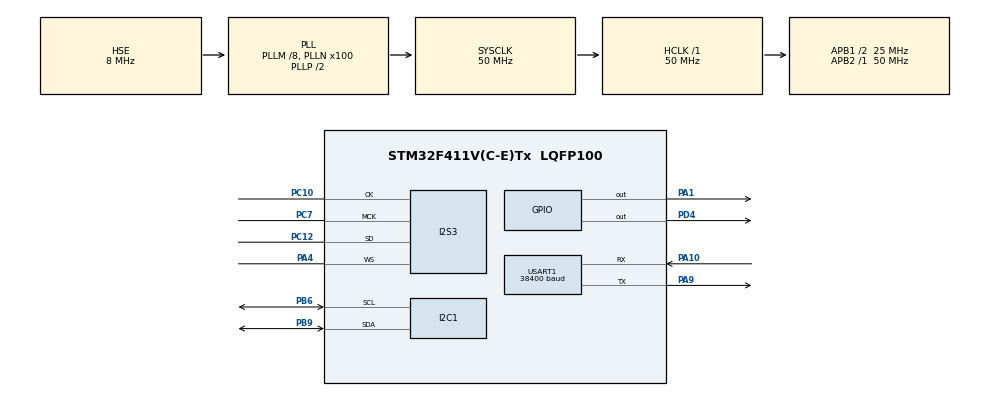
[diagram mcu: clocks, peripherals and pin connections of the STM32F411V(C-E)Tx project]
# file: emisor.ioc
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Dma.Request0=SPI3_TX
Dma.SPI3_TX.0.Direction=DMA_MEMORY_TO_PERIPH
Dma.SPI3_TX.0.FIFOMode=DMA_FIFOMODE_ENABLE
Dma.SPI3_TX.0.FIFOThreshold=DMA_FIFO_THRESHOLD_FULL
Dma.SPI3_TX.0.Instance=DMA1_Stream5
Dma.SPI3_TX.0.MemBurst=DMA_MBURST_SINGLE
Dma.SPI3_TX.0.MemDataAlignment=DMA_MDATAALIGN_HALFWORD
Dma.SPI3_TX.0.MemInc=DMA_MINC_ENABLE
Dma.SPI3_TX.0.Mode=DMA_CIRCULAR
Dma.SPI3_TX.0.PeriphBurst=DMA_PBURST_SINGLE
Dma.SPI3_TX.0.PeriphDataAlignment=DMA_PDATAALIGN_HALFWORD
Dma.SPI3_TX.0.PeriphInc=DMA_PINC_DISABLE
Dma.SPI3_TX.0.Priority=DMA_PRIORITY_LOW
I2S3.AudioFreq=I2S_AUDIOFREQ_48K
I2S3.ErrorAudioFreq=0.15 %
I2S3.FullDuplexMode=I2S_FULLDUPLEXMODE_DISABLE
I2S3.Instance=SPI$Index
I2S3.RealAudioFreq=48.076 KHz
I2S3.VirtualMode=I2S_MODE_MASTER
Mcu.Family=STM32F4
Mcu.Name=STM32F411V(C-E)Tx
Mcu.Package=LQFP100
NVIC.DMA1_Stream5_IRQn=true\:0\:0\:false\:false\:true\:false\:true\:true
NVIC.PriorityGroup=NVIC_PRIORITYGROUP_0
NVIC.USART1_IRQn=true\:0\:0\:false\:false\:true\:true\:true\:true
PA1.Signal=GPIO_Output
PA10.Mode=Asynchronous
PA10.Signal=USART1_RX
PA4.Mode=Half_Duplex_Master
PA4.Signal=I2S3_WS
PA9.Mode=Asynchronous
PA9.Signal=USART1_TX
PB6.Mode=I2C
PB6.Signal=I2C1_SCL
PB9.Mode=I2C
PB9.Signal=I2C1_SDA
PC10.Mode=Half_Duplex_Master
PC10.Signal=I2S3_CK
PC12.Mode=Half_Duplex_Master
PC12.Signal=I2S3_SD
PC7.Mode=Master_Clock_Activated
PC7.Signal=I2S3_MCK
PD4.Signal=GPIO_Output
PH0\ -\ OSC_IN.Mode=HSE-External-Oscillator
PH0\ -\ OSC_IN.Signal=RCC_OSC_IN
PH1\ -\ OSC_OUT.Mode=HSE-External-Oscillator
PH1\ -\ OSC_OUT.Signal=RCC_OSC_OUT
ProjectManager.HeapSize=0x200
ProjectManager.StackSize=0x400
ProjectManager.TargetToolchain=STM32CubeIDE
RCC.48MHZClocksFreq_Value=12500000
RCC.AHBFreq_Value=50000000
RCC.APB1CLKDivider=RCC_HCLK_DIV2
RCC.APB1Freq_Value=25000000
RCC.APB1TimFreq_Value=50000000
RCC.APB2Freq_Value=50000000
RCC.APB2TimFreq_Value=50000000
RCC.CortexFreq_Value=50000000
RCC.HCLKFreq_Value=50000000
RCC.HSE_VALUE=8000000
RCC.HSI_VALUE=16000000
RCC.LSE_VALUE=32768
RCC.PLLI2SM=5
RCC.PLLI2SN=200
RCC.PLLM=8
RCC.PLLN=100
RCC.PLLQ=8
RCC.PLLSourceVirtual=RCC_PLLSOURCE_HSE
RCC.SYSCLKFreq_VALUE=50000000
RCC.SYSCLKSource=RCC_SYSCLKSOURCE_PLLCLK
RCC.VCOOutputFreq_Value=100000000
USART1.BaudRate=38400
USART1.VirtualMode=VM_ASYNC
board=STM32F411E-DISCO

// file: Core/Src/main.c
/* USER CODE BEGIN Header */
/**
  ******************************************************************************
  * @file           : main.c
  * @brief          : Main program body
  ******************************************************************************
  * @attention
  *
  * Copyright (c) 2024 STMicroelectronics.
  * All rights reserved.
  *
  * This software is licensed under terms that can be found in the LICENSE file
  * in the root directory of this software component.
  * If no LICENSE file comes with this software, it is provided AS-IS.
  *
  ******************************************************************************
  */
/* USER CODE END Header */
#include "main.h"

/* USER CODE BEGIN Includes */
#include <stdio.h>
#include <string.h>
#include <stdlib.h>
#include <math.h>
#include "MY_CS43L22.h"
#include <math.h>

#define T_PUNTO 200 //Tiempo máximo del punto
#define T_RAYA 400 //Tiempo máximo de la raya
#define T_PR 200 //Tiempo máximo apagado entre códigos
#define T_CARACTER 400 //Tiempo máximo entre caracteres
#define T_PALABRA 750 //Tiempo máximo entre palabras
/* USER CODE END Includes */

I2C_HandleTypeDef hi2c1;

I2S_HandleTypeDef hi2s3;
DMA_HandleTypeDef hdma_spi3_tx;

UART_HandleTypeDef huart1;

/* USER CODE BEGIN PV */
#define PI 3.14159f

//Sample rate and Output freq
#define F_SAMPLE		48000.0f
#define F_OUT           1000.0f
/* USER CODE END PV */

void SystemClock_Config(void);
static void MX_GPIO_Init(void);
static void MX_DMA_Init(void);
static void MX_USART1_UART_Init(void);
static void MX_I2C1_Init(void);
static void MX_I2S3_Init(void);

/* USER CODE BEGIN 0 */

//AUDIO////////////////////////////
float mySinVal;
float sample_dt;
uint16_t sample_N;

int16_t dataI2S[100];

///////////////////////////////////

char car[8]="";
uint32_t luz=0;
enum estado {X0,X1,X2,X3,X4,X5,X6};
//enum estado estado_act, estado_sig;

char cact[5] = "", csig[5] = "****"; //Secuencias de . -
volatile char pact[10] = ""; //Secuencias de caracteres
char psig[10] = "*********"; //Secuencias de caracteres

uint32_t pos_csig = 0, pos_psig = 0;
uint8_t cleido = 0, pleida = 0;

volatile char frase_recv[64] = "";
volatile char frase_inter[64] = "";
volatile char frase_recv_m[256] = "";

volatile uint8_t mensaje_completo = 0;

void eliminarAsteriscos(char* orig){
	int len = strlen(orig);

	for(int i=0; i<len; i++){
		if(orig[i] == '*')
			orig[i] = ' ';
	}
}

char morse2asci(char* car){
	char asci;

	//Decoder
	if(car[0] == '.'){
		if(car[1] == '.'){
			if(car[2] == '.'){
				if(car[3] == '.'){
					asci = 'H'; //....
				}
				else if(car[3] == '-'){
					asci = 'V'; //...-
				}
				else asci = 'S'; // ...
			}
			else if(car[2] == '-'){
				if(car[3] == '.'){
					asci = 'F'; //..-.
				}
				else if(car[3] == '-'){
					asci = '*'; //..-- no existe
				}
				else asci = 'U'; // ..-
			}
			else asci = 'I'; // ..
		}
		else if(car[1] == '-'){
			if(car[2] == '.'){
				if(car[3] == '.'){
					asci = 'L'; //.-..
				}
				else if(car[3] == '-'){
					asci = '*'; // .-.- no existe
				}
				else asci = 'R'; // .-.
			}
			else if(car[2] == '-'){
				if(car[3] == '.'){
					asci = 'P'; //.--.
				}
				else if(car[3] == '-'){
					asci = 'J'; //.---
				}
				else asci = 'W'; // .--
			}
			else asci = 'A'; //.-
		}
		else asci = 'E'; // .
	}
	else if(car[0] == '-'){
		if(car[1] == '.'){
			if(car[2] == '.'){
				if(car[3] == '.'){
					asci = 'B'; //-...
				}
				else if(car[3] == '-'){
					asci = 'X'; //-..-
				}
				else asci = 'D'; // -..
			}
			else if(car[2] == '-'){
				if(car[3] == '.'){
					asci = 'C'; //-.-.
				}
				else if(car[3] == '-'){
					asci = 'Y'; //-.--
				}
				else asci = 'K'; // -.-
			}
			else asci = 'N'; //-.
		}
		else if(car[1] == '-'){
			if(car[2] == '.'){
				if(car[3] == '.'){
					asci = 'Z'; //--..
				}
				else if(car[3] == '-'){
					asci = 'Q'; //--.-
				}
				else asci = 'G'; // --.
			}
			else if(car[2] == '-'){
				if(car[3] == '.'){
					asci = '*'; //---. no existe
				}
				else if(car[3] == '-'){
					asci = '*'; //---- no existe
				}
				else asci = 'O'; // ---
			}
			else asci = 'M'; // --
		}
		else asci = 'T'; // -
	}
	return asci;
}

void fraseMorse(char* frase_recv, char* frase_recv_m) {
    for (int i = 0; i < strlen(frase_recv); i++) {
        char letra = frase_recv[i];
        char letra_m[10];
        asci2morse(letra, letra_m);

        if (('A' <= letra && letra <= 'Z') || ('a' <= letra && letra <= 'z')) {
            strcat(frase_recv_m, letra_m);
            if (('A' <= frase_recv[i + 1] && frase_recv[i + 1] <= 'Z') || ('a' <= frase_recv[i + 1] && frase_recv[i + 1] <= 'z'))
                strcat(frase_recv_m, "&");
        }
        else if (letra == ' ')
            strcat(frase_recv_m, "%");

        if (i == strlen(frase_recv)-1)
            strcat(frase_recv_m, "#");
    }
}

void asci2morse(char src, char* dest) {
    switch (src) {
    case 'A':
    case 'a':
        strcpy(dest, "./-");
        break;
    case 'B':
    case 'b':
        strcpy(dest, "-/././.");
        break;
    case 'C':
    case 'c':
        strcpy(dest, "-/./-/.");
        break;
    case 'D':
    case 'd':
        strcpy(dest, "-/./.");
        break;
    case 'E':
    case 'e':
        strcpy(dest, ".");
        break;
    case 'F':
    case 'f':
        strcpy(dest, "././-/.");
        break;
    case 'G':
    case 'g':
        strcpy(dest, "-/-/.");
        break;
    case 'H':
    case 'h':
        strcpy(dest, "./././.");
        break;
    case 'I':
    case 'i':
        strcpy(dest, "./.");
        break;
    case 'J':
    case 'j':
        strcpy(dest, "./-/-/-");
        break;
    case 'K':
    case 'k':
        strcpy(dest, "-/./-");
        break;
    case 'L':
    case 'l':
        strcpy(dest, "./-/./.");
        break;
    case 'M':
    case 'm':
        strcpy(dest, "-/-");
        break;
    case 'N':
    case 'n':
        strcpy(dest, "-/.");
        break;
    case 'O':
    case 'o':
        strcpy(dest, "-/-/-");
        break;
    case 'P':
    case 'p':
        strcpy(dest, "./-/-/.");
        break;
    case 'Q':
    case 'q':
        strcpy(dest, "-/-/./-");
        break;
    case 'R':
    case 'r':
        strcpy(dest, "./-/.");
        break;
    case 'S':
    case 's':
        strcpy(dest, "././.");
        break;
    case 'T':
    case 't':
        strcpy(dest, "-");
        break;
    case 'U':
    case 'u':
        strcpy(dest, "././-");
        break;
    case 'V':
    case 'v':
        strcpy(dest, "./././-");
        break;
    case 'W':
    case 'w':
        strcpy(dest, "./-/-");
        break;
    case 'X':
    case 'x':
        strcpy(dest, "-/././-");
        break;
    case 'Y':
    case 'y':
        strcpy(dest, "-/./-/-");
        break;
    case 'Z':
    case 'z':
        strcpy(dest, "-/-/./.");
        break;
    default:
        strcpy(dest, "");
        break;
    }
}

void transmitirLedMorse(char* cadena, uint8_t* start){
	static uint8_t index = 0;
	static enum estado estado_act = X0, estado_sig = X0;

	uint32_t tact = HAL_GetTick();
	volatile static uint32_t tim1 = 0;

	if(*start == 1){
		if(estado_act == X0){
			if(cadena[index] == '.'){
				estado_sig = X1;

				CS43_Restart();
				HAL_I2S_Transmit_DMA(&hi2s3, (uint16_t *)dataI2S, sample_N*2);

				//HAL_GPIO_WritePin(GPIOA, GPIO_PIN_1, 1);
				tim1 = HAL_GetTick();
			}
			else if(cadena[index] == '-'){
				estado_sig = X2;

				CS43_Restart();
				HAL_I2S_Transmit_DMA(&hi2s3, (uint16_t *)dataI2S, sample_N*2);

				//HAL_GPIO_WritePin(GPIOA, GPIO_PIN_1, 1);
				tim1 = HAL_GetTick();
			}
			else if(cadena[index] == '/'){
				estado_sig = X3;
				tim1 = HAL_GetTick();
			}
			else if(cadena[index] == '&'){
				estado_sig = X4;
				tim1 = HAL_GetTick();
			}
			else if(cadena[index] == '%'){
				estado_sig = X5;
				tim1 = HAL_GetTick();
			}
			else if(cadena[index] == '#'){
				estado_sig = X6;
				tim1 = HAL_GetTick();
			}
		}
		else if(estado_act == X1){
			if(tact - tim1 > T_PUNTO -50){
				estado_sig = X0;
				tim1 = 0;
				index++;

				CS43_Stop();

				//HAL_GPIO_WritePin(GPIOA, GPIO_PIN_1, 0);
			}
		}
		else if(estado_act == X2){
			if(tact - tim1 > T_RAYA -50){
				estado_sig = X0;
				tim1 = 0;
				index++;

				CS43_Stop();

				//HAL_GPIO_WritePin(GPIOA, GPIO_PIN_1, 0);
			}
		}
		else if(estado_act == X3){
			if(tact - tim1 > T_PR -50){
				estado_sig = X0;
				tim1 = 0;
				index++;
			}
		}
		else if(estado_act == X4){
			if(tact - tim1 > T_CARACTER -50){
				estado_sig = X0;
				tim1 = 0;
				index++;
			}
		}
		else if(estado_act == X5){
			if(tact - tim1 > T_PALABRA -100){
				estado_sig = X0;
				tim1 = 0;
				index++;
			}
		}
		else if(estado_act == X6){
			if(tact - tim1 > T_PALABRA){
				estado_sig = X0;
				tim1 = 0;
				index = 0; //Devuelve el índice al principio
				*start = 0; //Deja de transmitir
				strcpy(cadena, ""); //Limpiar cadena
			}
		}
		estado_act = estado_sig;
	}
	else return;
}

void HAL_UART_RxCpltCallback(UART_HandleTypeDef *huart) {
	if (frase_recv[strlen(frase_recv) - 1] == '\n') {
		mensaje_completo = 1;
	}
	if(mensaje_completo == 0)
		HAL_UART_Receive_IT(huart, (uint8_t *)&frase_recv[strlen(frase_recv)], 1);
}

/* USER CODE END 0 */

int main(void)
{
  /* USER CODE BEGIN 1 */
	sample_dt = F_OUT/F_SAMPLE;
	sample_N = F_SAMPLE/F_OUT;
  /* USER CODE END 1 */

  /* MCU Configuration--------------------------------------------------------*/

  /* Reset of all peripherals, Initializes the Flash interface and the Systick. */
  HAL_Init();

  /* Configure the system clock */
  SystemClock_Config();

  /* Initialize all configured peripherals */
  MX_GPIO_Init();
  MX_DMA_Init();
  MX_USART1_UART_Init();
  MX_I2C1_Init();
  MX_I2S3_Init();
  /* USER CODE BEGIN 2 */

  //AUDIO//////////////////////////
  CS43_Init(hi2c1, MODE_I2S);
  	CS43_SetVolume(100); //0 - 100,, 40
  	CS43_Enable_RightLeft(CS43_RIGHT_LEFT);
  	CS43_Start();

  	for(uint16_t i=0; i<sample_N; i++)
  		{
  			mySinVal = sinf(i*2*PI*sample_dt);
  			dataI2S[i*2] = (mySinVal )*8000;    //Right data (0 2 4 6 8 10 12)
  			dataI2S[i*2 + 1] =(mySinVal )*8000; //Left data  (1 3 5 7 9 11 13)
  		}

  //////////////////////////////////////////////////////

  uint32_t tact = 0, tim2 =0, tim3 = 0;
  char mdest[5];
  HAL_StatusTypeDef status_recv;
  uint32_t t_start_recv;
  uint8_t receiving = 0;
  char cadena[] = "-/-/./-&././-&.%-&./-&./-/./.%.&././.&-&./-&././.#";
  char start_led = 1;

  HAL_UART_Receive_IT(&huart1, (uint8_t *)frase_recv, 1);

  /* USER CODE END 2 */

  /* Infinite loop */
  while (1)
  {

    /* USER CODE BEGIN 3 */
	  if(mensaje_completo){

	  			 fraseMorse(frase_recv, frase_recv_m);

	  			 mensaje_completo = 0;
	  			 start_led = 1;
	  			 HAL_UART_Receive_IT(&huart1, (uint8_t *)frase_recv, 1);
	  			 memset(frase_recv, 0, sizeof(frase_recv));

  }
	  transmitirLedMorse(frase_recv_m, &start_led);
  }
  /* USER CODE END 3 */
}

void SystemClock_Config(void)
{
  RCC_OscInitTypeDef RCC_OscInitStruct = {0};
  RCC_ClkInitTypeDef RCC_ClkInitStruct = {0};

  /** Configure the main internal regulator output voltage
  */
  __HAL_RCC_PWR_CLK_ENABLE();
  __HAL_PWR_VOLTAGESCALING_CONFIG(PWR_REGULATOR_VOLTAGE_SCALE1);

  /** Initializes the RCC Oscillators according to the specified parameters
  * in the RCC_OscInitTypeDef structure.
  */
  RCC_OscInitStruct.OscillatorType = RCC_OSCILLATORTYPE_HSE;
  RCC_OscInitStruct.HSEState = RCC_HSE_ON;
  RCC_OscInitStruct.PLL.PLLState = RCC_PLL_ON;
  RCC_OscInitStruct.PLL.PLLSource = RCC_PLLSOURCE_HSE;
  RCC_OscInitStruct.PLL.PLLM = 8;
  RCC_OscInitStruct.PLL.PLLN = 100;
  RCC_OscInitStruct.PLL.PLLP = RCC_PLLP_DIV2;
  RCC_OscInitStruct.PLL.PLLQ = 8;
  if (HAL_RCC_OscConfig(&RCC_OscInitStruct) != HAL_OK)
  {
    Error_Handler();
  }

  /** Initializes the CPU, AHB and APB buses clocks
  */
  RCC_ClkInitStruct.ClockType = RCC_CLOCKTYPE_HCLK|RCC_CLOCKTYPE_SYSCLK
                              |RCC_CLOCKTYPE_PCLK1|RCC_CLOCKTYPE_PCLK2;
  RCC_ClkInitStruct.SYSCLKSource = RCC_SYSCLKSOURCE_PLLCLK;
  RCC_ClkInitStruct.AHBCLKDivider = RCC_SYSCLK_DIV1;
  RCC_ClkInitStruct.APB1CLKDivider = RCC_HCLK_DIV2;
  RCC_ClkInitStruct.APB2CLKDivider = RCC_HCLK_DIV1;

  if (HAL_RCC_ClockConfig(&RCC_ClkInitStruct, FLASH_LATENCY_1) != HAL_OK)
  {
    Error_Handler();
  }
}

static void MX_I2C1_Init(void)
{

  hi2c1.Instance = I2C1;
  hi2c1.Init.ClockSpeed = 100000;
  hi2c1.Init.DutyCycle = I2C_DUTYCYCLE_2;
  hi2c1.Init.OwnAddress1 = 0;
  hi2c1.Init.AddressingMode = I2C_ADDRESSINGMODE_7BIT;
  hi2c1.Init.DualAddressMode = I2C_DUALADDRESS_DISABLE;
  hi2c1.Init.OwnAddress2 = 0;
  hi2c1.Init.GeneralCallMode = I2C_GENERALCALL_DISABLE;
  hi2c1.Init.NoStretchMode = I2C_NOSTRETCH_DISABLE;
  if (HAL_I2C_Init(&hi2c1) != HAL_OK)
  {
    Error_Handler();
  }

}

static void MX_I2S3_Init(void)
{

  hi2s3.Instance = SPI3;
  hi2s3.Init.Mode = I2S_MODE_MASTER_TX;
  hi2s3.Init.Standard = I2S_STANDARD_PHILIPS;
  hi2s3.Init.DataFormat = I2S_DATAFORMAT_16B;
  hi2s3.Init.MCLKOutput = I2S_MCLKOUTPUT_ENABLE;
  hi2s3.Init.AudioFreq = I2S_AUDIOFREQ_48K;
  hi2s3.Init.CPOL = I2S_CPOL_LOW;
  hi2s3.Init.ClockSource = I2S_CLOCK_PLL;
  hi2s3.Init.FullDuplexMode = I2S_FULLDUPLEXMODE_DISABLE;
  if (HAL_I2S_Init(&hi2s3) != HAL_OK)
  {
    Error_Handler();
  }

}

static void MX_USART1_UART_Init(void)
{

  huart1.Instance = USART1;
  huart1.Init.BaudRate = 38400;
  huart1.Init.WordLength = UART_WORDLENGTH_8B;
  huart1.Init.StopBits = UART_STOPBITS_1;
  huart1.Init.Parity = UART_PARITY_NONE;
  huart1.Init.Mode = UART_MODE_TX_RX;
  huart1.Init.HwFlowCtl = UART_HWCONTROL_NONE;
  huart1.Init.OverSampling = UART_OVERSAMPLING_16;
  if (HAL_UART_Init(&huart1) != HAL_OK)
  {
    Error_Handler();
  }

}

static void MX_DMA_Init(void)
{

  /* DMA controller clock enable */
  __HAL_RCC_DMA1_CLK_ENABLE();

  /* DMA interrupt init */
  /* DMA1_Stream5_IRQn interrupt configuration */
  HAL_NVIC_SetPriority(DMA1_Stream5_IRQn, 0, 0);
  HAL_NVIC_EnableIRQ(DMA1_Stream5_IRQn);

}

static void MX_GPIO_Init(void)
{
  GPIO_InitTypeDef GPIO_InitStruct = {0};

  /* GPIO Ports Clock Enable */
  __HAL_RCC_GPIOH_CLK_ENABLE();
  __HAL_RCC_GPIOA_CLK_ENABLE();
  __HAL_RCC_GPIOC_CLK_ENABLE();
  __HAL_RCC_GPIOD_CLK_ENABLE();
  __HAL_RCC_GPIOB_CLK_ENABLE();

  /*Configure GPIO pin Output Level */
  HAL_GPIO_WritePin(GPIOA, GPIO_PIN_1, GPIO_PIN_RESET);

  /*Configure GPIO pin Output Level */
  HAL_GPIO_WritePin(GPIOD, GPIO_PIN_4, GPIO_PIN_RESET);

  /*Configure GPIO pin : PA1 */
  GPIO_InitStruct.Pin = GPIO_PIN_1;
  GPIO_InitStruct.Mode = GPIO_MODE_OUTPUT_PP;
  GPIO_InitStruct.Pull = GPIO_NOPULL;
  GPIO_InitStruct.Speed = GPIO_SPEED_FREQ_LOW;
  HAL_GPIO_Init(GPIOA, &GPIO_InitStruct);

  /*Configure GPIO pin : PD4 */
  GPIO_InitStruct.Pin = GPIO_PIN_4;
  GPIO_InitStruct.Mode = GPIO_MODE_OUTPUT_PP;
  GPIO_InitStruct.Pull = GPIO_NOPULL;
  GPIO_InitStruct.Speed = GPIO_SPEED_FREQ_LOW;
  HAL_GPIO_Init(GPIOD, &GPIO_InitStruct);

}

void Error_Handler(void)
{
  __disable_irq();
  while (1)
  {
  }
}
